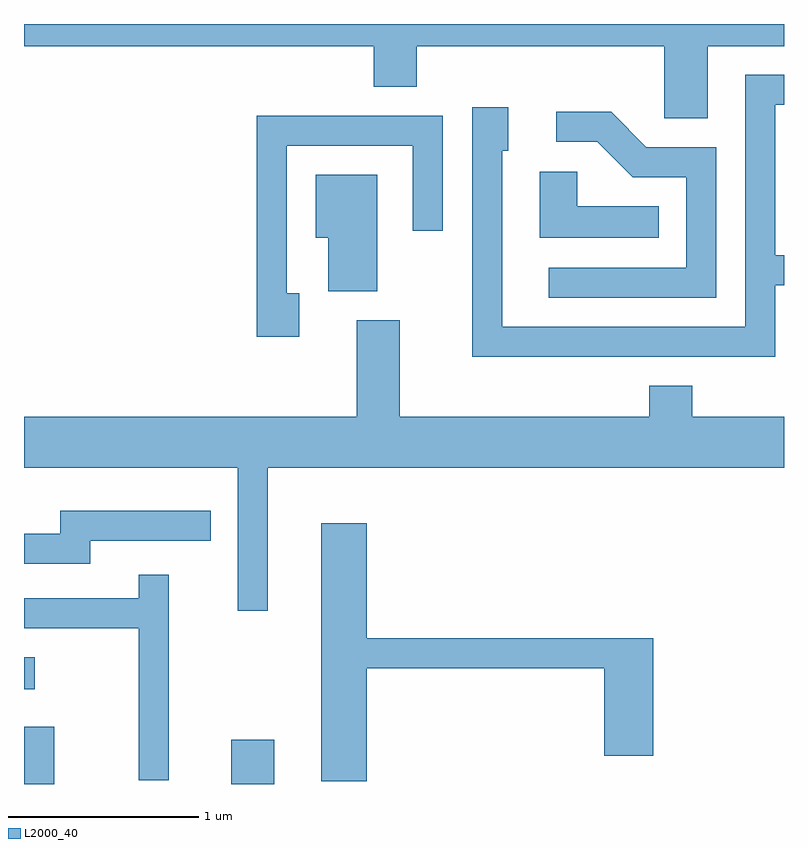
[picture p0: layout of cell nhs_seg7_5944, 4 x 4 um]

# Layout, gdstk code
import gdstk
lib = gdstk.Library(unit=1e-6, precision=1e-09)
def R(c, l, rs):  # rectangles x0, y0, x1, y1
    for r in rs: c.add(gdstk.rectangle(r[:2], r[2:], *l))
def P(c, l, *ps):  # polygons
    for p in ps: c.add(gdstk.Polygon(p, *l))
L2000_40 = (2000, 40)

nhs_seg7_5944 = lib.new_cell('nhs_seg7_5944')
R(nhs_seg7_5944, L2000_40, [(367.611,1668.252,367.769,1668.554), (368.701,1668.252,368.929,1668.484), (367.611,1668.751,367.668,1668.919)])
P(nhs_seg7_5944, L2000_40, [(371.209,1672.136),(371.611,1672.136),(371.611,1672.252),(367.611,1672.252),(367.611,1672.136),(369.451,1672.136),(369.451,1671.921),(369.679,1671.921),(369.679,1672.136),(370.981,1672.136),(370.981,1671.756),(371.209,1671.756)],
  [(371.564,1670.876),(371.611,1670.876),(371.611,1671.034),(371.564,1671.034),(371.564,1671.826),(371.611,1671.826),(371.611,1671.984),(371.406,1671.984),(371.406,1670.659),(370.129,1670.659),(370.129,1671.586),(370.159,1671.586),(370.159,1671.814),(369.971,1671.814),(369.971,1670.501),(371.564,1670.501)],
  [(371.254,1671.604),(370.887,1671.604),(370.702,1671.789),(370.413,1671.789),(370.413,1671.631),(370.629,1671.631),(370.814,1671.446),(371.096,1671.446),(371.096,1670.969),(370.373,1670.969),(370.373,1670.811),(371.254,1670.811)],
  [(369.059,1670.834),(368.994,1670.834),(368.994,1671.611),(369.656,1671.611),(369.656,1671.163),(369.814,1671.163),(369.814,1671.769),(368.836,1671.769),(368.836,1670.606),(369.059,1670.606)],
  [(370.953,1671.294),(370.524,1671.294),(370.524,1671.474),(370.326,1671.474),(370.326,1671.126),(370.953,1671.126)],
  [(369.469,1671.459),(369.146,1671.459),(369.146,1671.126),(369.211,1671.126),(369.211,1670.846),(369.469,1670.846)],
  [(368.894,1669.916),(371.611,1669.916),(371.611,1670.184),(371.129,1670.184),(371.129,1670.349),(370.901,1670.349),(370.901,1670.184),(369.589,1670.184),(369.589,1670.694),(369.361,1670.694),(369.361,1670.184),(367.611,1670.184),(367.611,1669.916),(368.736,1669.916),(368.736,1669.163),(368.894,1669.163)],
  [(367.959,1669.531),(368.593,1669.531),(368.593,1669.689),(367.801,1669.689),(367.801,1669.569),(367.611,1669.569),(367.611,1669.411),(367.959,1669.411)],
  [(369.414,1668.861),(370.666,1668.861),(370.666,1668.401),(370.924,1668.401),(370.924,1669.019),(369.414,1669.019),(369.414,1669.624),(369.176,1669.624),(369.176,1668.266),(369.414,1668.266)],
  [(368.374,1669.353),(368.216,1669.353),(368.216,1669.229),(367.611,1669.229),(367.611,1669.071),(368.216,1669.071),(368.216,1668.273),(368.374,1668.273)])

lib.write_gds('nhs_seg7_5944.gds')
